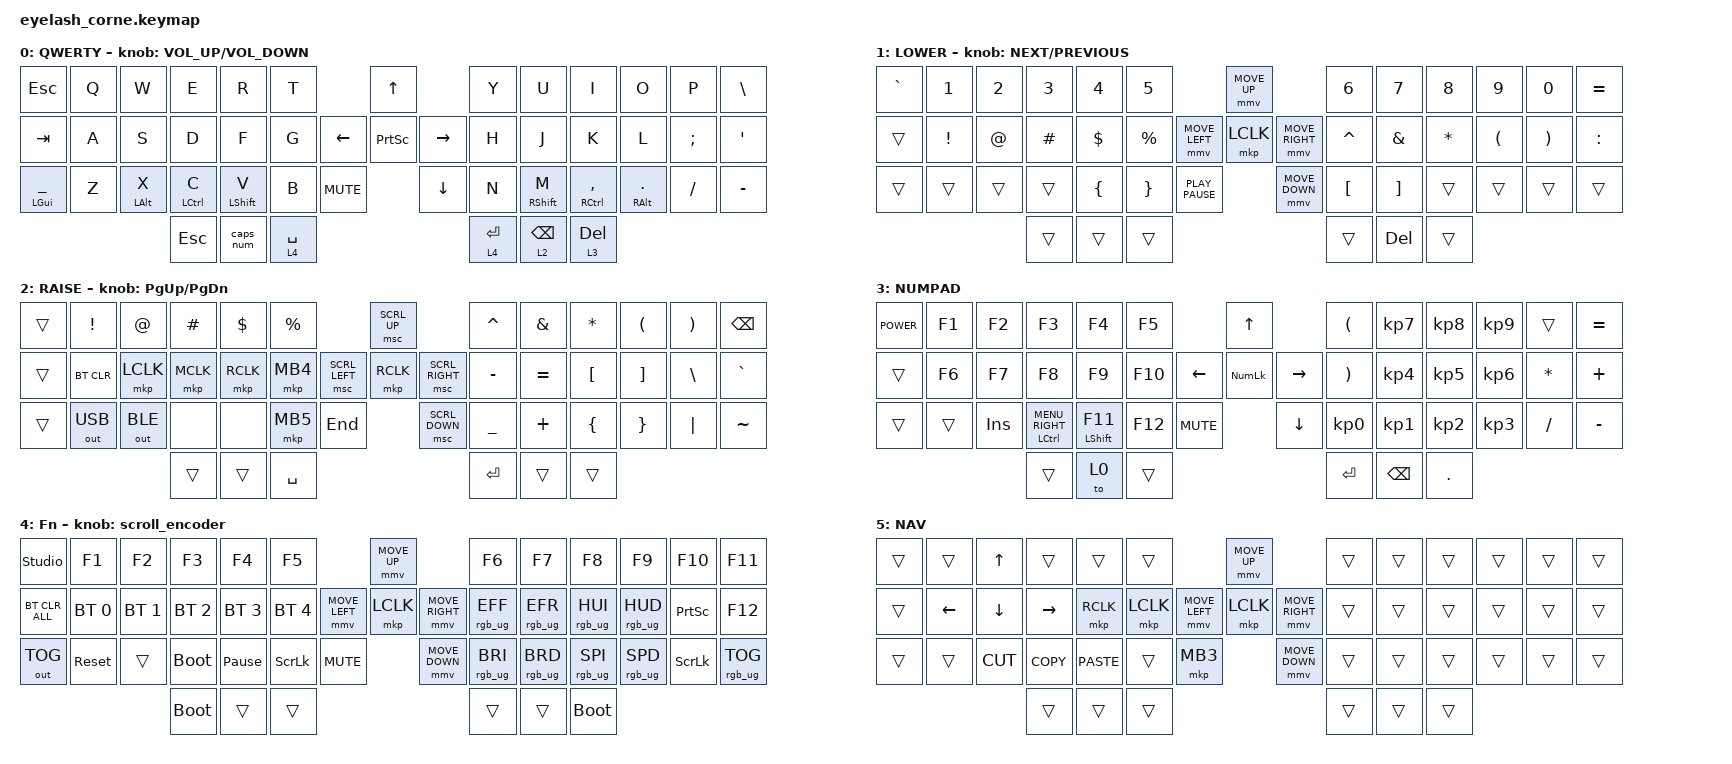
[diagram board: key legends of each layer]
#include <dt-bindings/zmk/mouse.h>
#include <input/processors.dtsi>
#include <behaviors.dtsi>
#include <dt-bindings/zmk/bt.h>
#include <dt-bindings/zmk/keys.h>
#include <dt-bindings/zmk/outputs.h>
#include <dt-bindings/zmk/pointing.h>
#include <dt-bindings/zmk/pointing.h>
#include <dt-bindings/zmk/pointing.h>
#include <dt-bindings/zmk/rgb.h>

/*

   &mmv_input_listener {
       input-processors = <&zip_xy_scaler 2 1>;
   };

   &msc_input_listener {
       input-processors = <&zip_xy_scaler 2 1>;
   };

 */

#define ZMK_MOUSE_DEFAULT_MOVE_VAL 1200  // 600
#define ZMK_MOUSE_DEFAULT_SCRL_VAL 20    // 10

/ {
    behaviors {
        td0: td0 {
            compatible = "zmk,behavior-tap-dance";
            display-name = "Shift/Caps Lock Tap Dance";
            #binding-cells = <0>;
            bindings = <&kp LEFT_SHIFT>, <&kp CAPS>;
        };

        caps_num: caps_num {
            compatible = "zmk,behavior-tap-dance";
            label = "CAPS_NUM";
            #binding-cells = <0>;
            bindings = <&lt 1 CAPS>, <&tog 3>;
        };

        tabNum: tabNum {
            compatible = "zmk,behavior-tap-dance";
            label = "TABNUM";
            #binding-cells = <0>;
            bindings = <&kp TAB>, <&none>, <&tog 3>;
        };
    };

    rgb_encoder: rgb_encoder {
        compatible = "zmk,behavior-sensor-rotate";
        #sensor-binding-cells = <0>;
        bindings = <&rgb_ug RGB_BRI>, <&rgb_ug RGB_BRD>;
    };

    scroll_encoder: scroll_encoder {
        compatible = "zmk,behavior-sensor-rotate";
        #sensor-binding-cells = <0>;
        bindings = <&msc SCRL_DOWN>, <&msc SCRL_UP>;

        tap-ms = <30>;
    };

    combos {
        compatible = "zmk,combos";

        SelectAll {
            bindings = <&kp LC(A)>;
            key-positions = <14 15>;
        };

        Copy {
            bindings = <&kp LC(C)>;
            key-positions = <30 31>;
        };

        toggleNumpad {
            bindings = <&tog 4>;
            key-positions = <8 9 10>;
            layers = <3>;
        };

        esc {
            bindings = <&kp ESCAPE>;
            key-positions = <23 24>;
        };

        backDefault {
            bindings = <&to 0>;
            key-positions = <33 36>;
        };
    };

    keymap {
        compatible = "zmk,keymap";

        default_layer {
            display-name = "QWERTY";
            bindings = <
&kp ESC             &kp Q  &kp W           &kp E        &kp R             &kp T                                &kp UP                      &kp Y        &kp U              &kp I            &kp O              &kp P     &kp BACKSLASH
&kp TAB             &kp A  &kp S           &kp D        &kp F             &kp G                      &kp LEFT  &kp PRINTSCREEN  &kp RIGHT  &kp H        &kp J              &kp K            &kp L              &kp SEMI  &kp SQT
&mt LEFT_GUI UNDER  &kp Z  &mt LEFT_ALT X  &mt LCTRL C  &mt LEFT_SHIFT V  &kp B        &kp K_MUTE              &kp DOWN                    &kp N        &mt RIGHT_SHIFT M  &mt RCTRL COMMA  &mt RIGHT_ALT DOT  &kp FSLH  &kp MINUS
                                           &kp ESCAPE   &caps_num         &lt 4 SPACE                                                      &lt 4 ENTER  &lt 2 BACKSPACE    &lt 3 DELETE
            >;

            sensor-bindings = <&inc_dec_kp C_VOLUME_UP C_VOLUME_DOWN>;
        };

        lower_layer {
            display-name = "LOWER";
            bindings = <
&kp GRAVE  &kp N1           &kp N2       &kp N3    &kp N4          &kp N5                                               &mmv MOVE_UP                     &kp N6            &kp N7             &kp N8        &kp N9                &kp N0                 &kp EQUAL
&trans     &kp EXCLAMATION  &kp AT_SIGN  &kp HASH  &kp DOLLAR      &kp PRCNT                            &mmv MOVE_LEFT  &mkp LCLK       &mmv MOVE_RIGHT  &kp CARET         &kp AMPERSAND      &kp ASTERISK  &kp LEFT_PARENTHESIS  &kp RIGHT_PARENTHESIS  &kp COLON
&trans     &trans           &trans       &trans    &kp LEFT_BRACE  &kp RIGHT_BRACE  &kp K_PLAY_PAUSE                    &mmv MOVE_DOWN                   &kp LEFT_BRACKET  &kp RIGHT_BRACKET  &trans        &trans                &trans                 &trans
                                         &trans    &trans          &trans                                                                                &trans            &kp DEL            &trans
            >;

            sensor-bindings = <&inc_dec_kp C_NEXT C_PREVIOUS>;
        };

        raise_layer {
            display-name = "RAISE";
            bindings = <
&trans  &kp EXCL      &kp AT        &kp HASH   &kp DLLR   &kp PRCNT                             &msc SCRL_UP                     &kp CARET  &kp AMPS   &kp ASTRK  &kp LPAR  &kp RPAR  &kp BSPC
&trans  &bt BT_CLR    &mkp LCLK     &mkp MCLK  &mkp RCLK  &mkp MB4              &msc SCRL_LEFT  &mkp RCLK       &msc SCRL_RIGHT  &kp MINUS  &kp EQUAL  &kp LBKT   &kp RBKT  &kp BSLH  &kp GRAVE
&trans  &out OUT_USB  &out OUT_BLE  &none      &none      &mkp MB5   &kp END                    &msc SCRL_DOWN                   &kp UNDER  &kp PLUS   &kp LBRC   &kp RBRC  &kp PIPE  &kp TILDE
                                    &trans     &trans     &kp SPACE                                                              &kp RET    &trans     &trans
            >;

            sensor-bindings = <&inc_dec_kp PAGE_UP PAGE_DOWN>;
        };

        numpad {
            bindings = <
&kp K_POWER  &kp F1  &kp F2      &kp F3                  &kp F4              &kp F5                           &kp UP_ARROW               &kp LEFT_PARENTHESIS   &kp KP_NUMBER_7  &kp KP_NUMBER_8  &kp KP_NUMBER_9  &trans     &kp EQUAL
&trans       &kp F6  &kp F7      &kp F8                  &kp F9              &kp F10                &kp LEFT  &kp KP_NUMLOCK  &kp RIGHT  &kp RIGHT_PARENTHESIS  &kp KP_NUMBER_4  &kp KP_NUMBER_5  &kp KP_NUMBER_6  &kp ASTRK  &kp PLUS
&trans       &trans  &kp INSERT  &mt LCTRL C_MENU_RIGHT  &mt LEFT_SHIFT F11  &kp F12  &kp K_MUTE              &kp DOWN_ARROW             &kp KP_NUMBER_0        &kp KP_NUMBER_1  &kp KP_NUMBER_2  &kp KP_NUMBER_3  &kp SLASH  &kp MINUS
                                 &trans                  &to 0               &trans                                                      &kp ENTER              &kp BACKSPACE    &kp PERIOD
            >;

            label = "NUMPAD";
        };

        FN {
            display-name = "Fn";
            bindings = <
&studio_unlock  &kp F1        &kp F2        &kp F3        &kp F4           &kp F5                                        &mmv MOVE_UP                     &kp F6           &kp F7           &kp F8           &kp F9           &kp F10          &kp F11
&bt BT_CLR_ALL  &bt BT_SEL 0  &bt BT_SEL 1  &bt BT_SEL 2  &bt BT_SEL 3     &bt BT_SEL 4                  &mmv MOVE_LEFT  &mkp LCLK       &mmv MOVE_RIGHT  &rgb_ug RGB_EFF  &rgb_ug RGB_EFR  &rgb_ug RGB_HUI  &rgb_ug RGB_HUD  &kp PRINTSCREEN  &kp F12
&out OUT_TOG    &sys_reset    &trans        &bootloader   &kp PAUSE_BREAK  &kp SCROLLLOCK  &kp C_MUTE                    &mmv MOVE_DOWN                   &rgb_ug RGB_BRI  &rgb_ug RGB_BRD  &rgb_ug RGB_SPI  &rgb_ug RGB_SPD  &kp SCROLLLOCK   &rgb_ug RGB_TOG
                                            &bootloader   &trans           &trans                                                                         &trans           &trans           &bootloader
            >;

            sensor-bindings = <&scroll_encoder>;
        };

        MouseLayer {
            bindings = <
&trans  &trans    &kp UP_ARROW  &trans      &trans       &trans                                 &mmv MOVE_UP                     &trans  &trans  &trans  &trans  &trans  &trans
&trans  &kp LEFT  &kp DOWN      &kp RIGHT   &mkp RCLK    &mkp LCLK              &mmv MOVE_LEFT  &mkp LCLK       &mmv MOVE_RIGHT  &trans  &trans  &trans  &trans  &trans  &trans
&trans  &trans    &kp K_CUT     &kp K_COPY  &kp K_PASTE  &trans     &mkp MB3                    &mmv MOVE_DOWN                   &trans  &trans  &trans  &trans  &trans  &trans
                                &trans      &trans       &trans                                                                  &trans  &trans  &trans
            >;

            label = "NAV";
        };
    };
};
